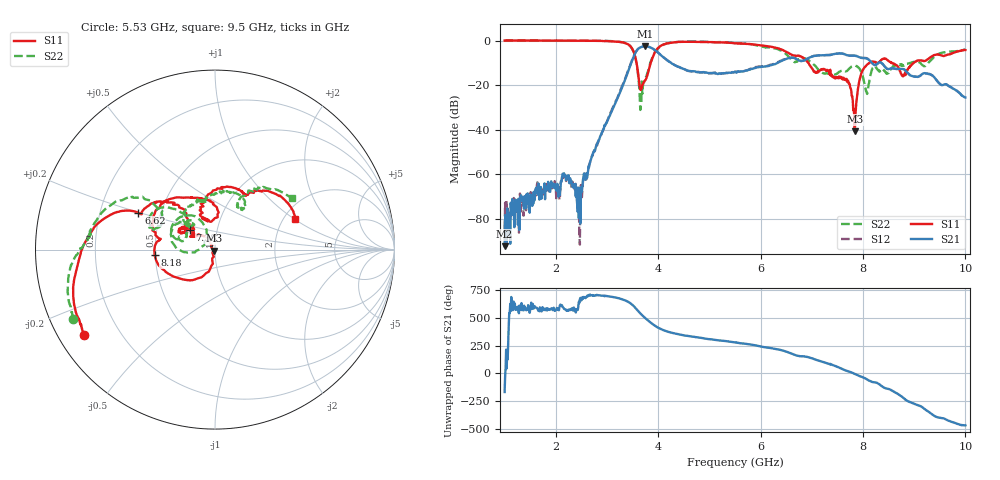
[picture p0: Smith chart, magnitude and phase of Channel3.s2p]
!Agilent Technologies,N5227A,US51270477,A.10.00.00
!File generated by LCAF-GAM-UPV software
!josevmart@iteam.upv.es
!S2P File: Measurements: S11, S21, S12, S22:
# Hz S  dB  R 50
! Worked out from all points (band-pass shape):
!   901 points, 1 GHz to 10 GHz, reference 50 ohm
!   highest |S21| = -2.61 dB at 3.74 GHz (marker M1); lowest = -92.4 dB at 1 GHz (marker M2)
!   |S21| within 3 dB of the highest: 3.552 GHz to 4.006 GHz (453.9 MHz wide, 12 % of centre)
!   lowest |S11| = -40.8 dB at 7.84 GHz (marker M3), VSWR 1.02, Z = 49.4 - j0.664 ohm
!   |S11| at or under -10 dB: 3.576 GHz to 3.854 GHz (278 MHz wide, 7.48 % of centre); 6.93 GHz to 8.125 GHz (1.195 GHz wide, 15.9 % of centre); 8.564 GHz to 8.993 GHz (429.6 MHz wide, 4.89 % of centre)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
!   |S22| runs from -31.2 to 0.0 dB; largest |S21 - S12| = 0.063
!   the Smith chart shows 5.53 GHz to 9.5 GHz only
!   S11 on the Smith chart (normalised r, x): 5.53 GHz: 0.07, -0.30; 6.62 GHz: 0.37, +0.20; 7.38 GHz: 0.74, +0.16; 8.18 GHz: 0.50, -0.04; 9.5 GHz: 2.30, +1.00
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1e9  0.00 -30.5  -92.40 -166.7  -84.66 -167.2  0.01 -30.8
2.17e9  -0.03 -67.9  -60.90 -143.9  -60.09 -136.7  0.03 -68.3
2.5e9  -0.07 -79.9  -68.23 -65.5  -68.60 -38.8  0.00 -80.8
3.42e9  -1.83 -144.2  -13.45 -79.9  -13.03 -83.5  -1.87 -151.6
3.55e9  -7.17 -179.8  -5.69 -130.1  -5.56 -134.1  -7.50 168.4
3.66e9  -22.23 -128.7  -2.98 173.7  -2.98 172.6  -28.79 -115.1
3.74e9  -18.00 -73.5  -2.61 139.1  -2.66 136.9  -17.82 -56.3
4e9  -3.29 -53.6  -5.48 49.3  -5.45 49.3  -3.46 -55.9
4.5e9  -0.56 -101.9  -12.77 -18.5  -12.86 -17.9  -0.49 -103.2
5.5e9  -1.26 -148.7  -14.04 -82.5  -13.94 -83.2  -1.12 -153.7
5.53e9  -1.17 -146.8  -14.48 -80.9  -14.03 -83.3  -1.12 -154.1
6.62e9  -6.50 154.4  -7.77 175.1  -7.62 173.1  -8.85 145.3
7e9  -12.39 131.6  -7.27 136.3  -7.23 136.3  -9.95 134.6
7.38e9  -15.06 142.5  -6.39 80.2  -6.36 79.9  -15.09 153.6
7.7e9  -18.18 137.6  -6.61 20.6  -6.67 21.5  -13.40 164.3
7.84e9  -40.76 -132.8  -6.79 -5.1  -6.81 -3.0  -11.23 146.3
8.07e9  -11.05 -148.7  -8.04 -51.2  -7.98 -51.5  -22.90 144.0
8.18e9  -9.42 -174.6  -10.20 -76.6  -10.15 -77.2  -12.87 173.9
8.5e9  -9.17 123.4  -12.83 -139.4  -12.88 -139.2  -14.59 137.1
8.79e9  -15.65 104.7  -12.83 140.5  -12.81 141.1  -11.20 103.0
9.5e9  -6.44 20.7  -19.49 -38.3  -19.46 -37.9  -5.77 33.8
1e10  -4.24 -21.7  -25.61 -105.4  -25.68 -106.3  -4.01 -27.7
